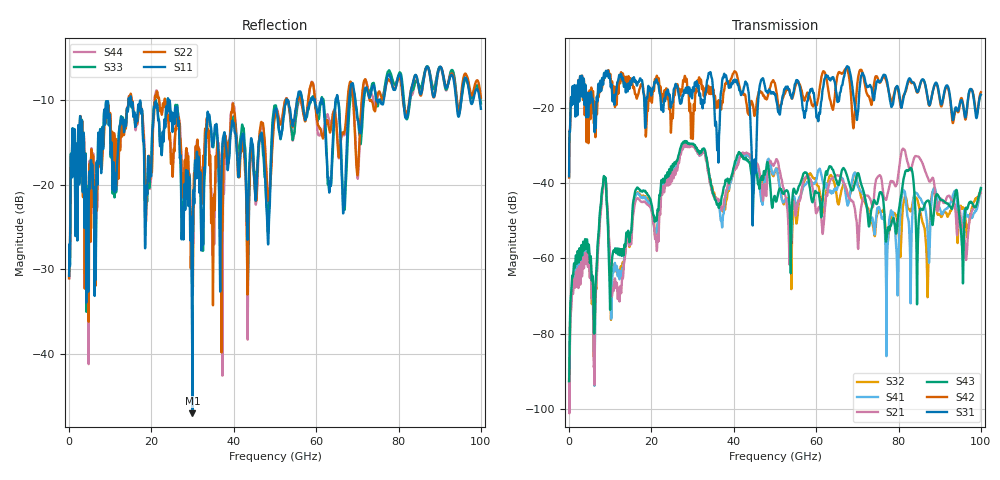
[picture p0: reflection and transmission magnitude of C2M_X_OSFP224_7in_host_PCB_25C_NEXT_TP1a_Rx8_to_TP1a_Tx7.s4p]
# GHz S RI R 45
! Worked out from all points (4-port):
!   4000 points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, 25 MHz to 100 GHz, reference 45 ohm
!   strongest paths, dB at 25 MHz, 25.02 GHz, 50.02 GHz, 75.03 GHz, 100 GHz:
!     S31: -38.2, -18.6, -16.4, -12.7, -16.6
!     S42: -38.6, -21.8, -13.7, -12.6, -15.9
!     S43: -92.5, -36.4, -43.7, -44.5, -41.3
!     S21: -89.4, -39.2, -34.7, -38.3, -42.6
!     S41: -92.6, -37.7, -36.7, -46.6, -41.6
!     S32: -91.9, -37.9, -36.7, -47.5, -41.9
!   lowest |S11| = -47.0 dB at 29.95 GHz (marker M1), VSWR 1.01, Z = 44.9 + j0.384 ohm
!   |S11| at or under -10 dB: start of sweep to 14.46 GHz; 15.06 GHz to 23.96 GHz (8.901 GHz wide, 45.6 % of centre); 24.08 GHz to 52.77 GHz (28.69 GHz wide, 74.7 % of centre)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
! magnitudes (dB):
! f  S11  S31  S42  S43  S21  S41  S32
! 25 MHz  -30.8  -38.2  -38.6  -92.5  -89.4  -92.6  -91.9
! 6.225 GHz  -33.2  -26.4  -18.5  -78.0  -86.1  -87.2  -76.4
! 8.525 GHz  -11.2  -10.8  -12.2  -38.3  -39.2  -38.7  -38.8
! 12.22 GHz  -13.4  -11.3  -11.5  -58.3  -71.3  -65.3  -63.4
! 29.95 GHz  -47.0  -16.6  -23.3  -29.7  -30.3  -29.9  -30.2
! 44.9 GHz  -18.9  -36.3  -21.5  -38.3  -38.4  -40.7  -38.8
! 100 GHz  -11.0  -16.6  -15.9  -41.3  -42.6  -41.6  -41.9
